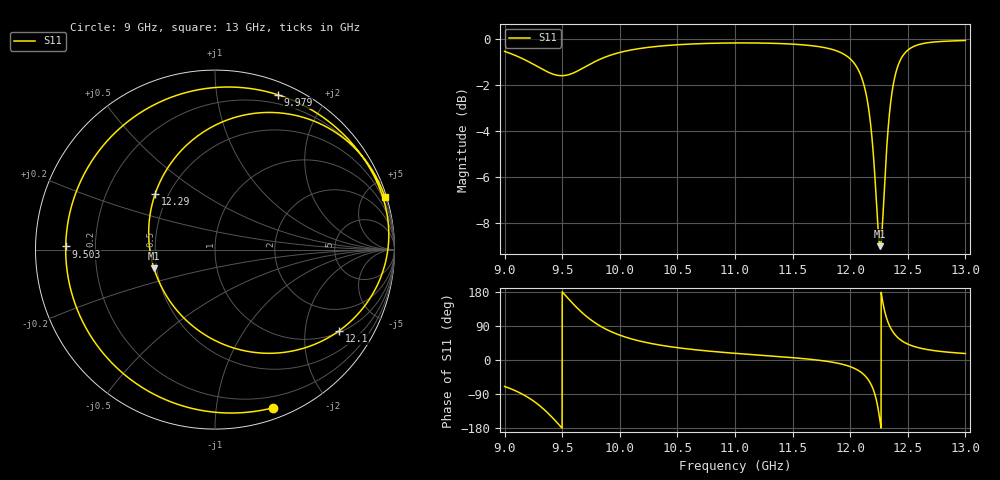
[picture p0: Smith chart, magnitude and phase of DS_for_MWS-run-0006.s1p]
! TOUCHSTONE file generated by CST DESIGN STUDIO
! Date and time: Tue Feb  4 16:28:37 2025
! Project name: C:\Work\MatlabApps\UnitCellOptimizationMatlab\CST\unitcell.cst
! Tree item: Tasks\Sweep1\SPara1\S-Parameters
! Header version: 2024
! Port assignment regex: !\s*Touchstone port\s*([0-9]+)\s*=\s*(CST MWS port|CST DES external port|CST DES block port)\s*(.+)\s* \(\"(.*)\"\)(\s*mode\s*([0-9]+))?.*
! Touchstone port assignment:
! Touchstone port 1 = CST DES external port 1 ("")
# GHz S MA R 50
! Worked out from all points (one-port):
!   4001 points, 9 GHz to 13 GHz, reference 50 ohm
!   lowest |S11| = -9.0 dB at 12.26 GHz (marker M1), VSWR 2.10, Z = 24.2 - j5.8 ohm
!   |S11| at or under -10 dB: nowhere
!   S11 on the Smith chart (normalised r, x): 9 GHz: 0.10, -1.43; 9.503 GHz: 0.09, +0.01; 9.979 GHz: 0.11, +1.48; 12.1 GHz: 1.06, -3.01; 12.29 GHz: 0.42, +0.33; 13 GHz: 0.19, +6.63
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9  0.9391 -69.8
9.165  0.9033 -91.9
9.282  0.8718 -115.3
9.384  0.8453 -142.5
9.5  0.8319 179.8
9.503  0.832 178.8
9.618  0.848 140.9
9.716  0.8742 113.7
9.827  0.9028 90.1
9.979  0.9311 67.9
10  0.9341 65.5
10.214  0.9558 47.2
10.5  0.9706 32.6
11  0.9795 17.6
11.5  0.9737 6.2
12  0.9049 -17.5
12.098  0.8259 -33.2
12.15  0.732 -49.2
12.197  0.579 -75.3
12.228  0.4419 -106.7
12.26  0.3555 -162.9
12.293  0.4552 137.1
12.327  0.6286 100.7
12.364  0.7687 77.5
12.425  0.8875 55.9
12.5  0.9448 41.9
12.671  0.9804 27.5
13  0.9917 17.1
